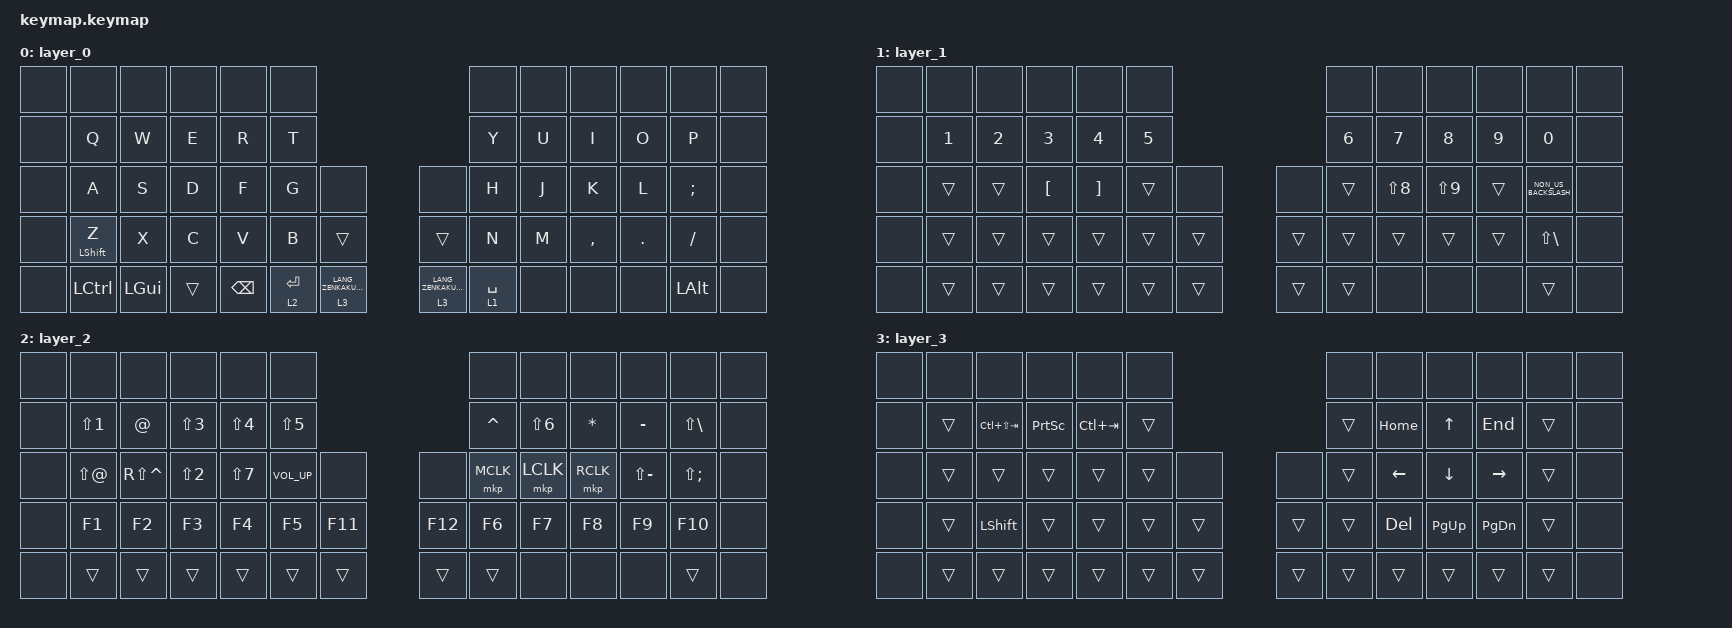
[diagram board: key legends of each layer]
#include <behaviors.dtsi>
#include <dt-bindings/zmk/bt.h>
#include <dt-bindings/zmk/keys.h>
#include <dt-bindings/zmk/pointing.h>

/ {
    combos {
        compatible = "zmk,combos";

        bt_clear {
            bindings = <&bt BT_CLR>;
            key-positions = <28 29>;
            layers = <2>;
        };
    };

    keymap {
        compatible = "zmk,keymap";

        layer_0 {
            bindings = <
&none  &none             &none     &none   &none     &none                                                              &none        &none  &none      &none    &none         &none
&none  &kp Q             &kp W     &kp E   &kp R     &kp T                                                              &kp Y        &kp U  &kp I      &kp O    &kp P         &none
&none  &kp A             &kp S     &kp D   &kp F     &kp G        &none                      &none                      &kp H        &kp J  &kp K      &kp L    &kp SEMI      &none
&none  &mt LEFT_SHIFT Z  &kp X     &kp C   &kp V     &kp B        &trans                     &trans                     &kp N        &kp M  &kp COMMA  &kp DOT  &kp FSLH      &none
&none  &kp LCTRL         &kp LGUI  &trans  &kp BSPC  &lt 2 ENTER  &lt 3 LANG_ZENKAKUHANKAKU  &lt 3 LANG_ZENKAKUHANKAKU  &lt 1 SPACE  &none  &none      &none    &kp LEFT_ALT  &none
            >;
        };

        layer_1 {
            bindings = <
&none  &none   &none   &none             &none              &none                   &none   &none       &none       &none   &none                 &none
&none  &kp N1  &kp N2  &kp N3            &kp N4             &kp N5                  &kp N6  &kp N7      &kp N8      &kp N9  &kp N0                &none
&none  &trans  &trans  &kp LEFT_BRACKET  &kp RIGHT_BRACKET  &trans  &none   &none   &trans  &kp LS(N8)  &kp LS(N9)  &trans  &kp NON_US_BACKSLASH  &none
&none  &trans  &trans  &trans            &trans             &trans  &trans  &trans  &trans  &trans      &trans      &trans  &kp LS(BACKSLASH)     &none
&none  &trans  &trans  &trans            &trans             &trans  &trans  &trans  &trans  &none       &none       &none   &trans                &none
            >;
        };

        layer_2 {
            bindings = <
&none  &none            &none          &none       &none       &none                              &none      &none       &none         &none          &none              &none
&none  &kp LS(N1)       &kp AT_SIGN    &kp LS(N3)  &kp LS(N4)  &kp LS(N5)                         &kp CARET  &kp LS(N6)  &kp ASTERISK  &kp MINUS      &kp LS(BACKSLASH)  &none
&none  &kp LS(AT_SIGN)  &kp RS(CARET)  &kp LS(N2)  &kp LS(N7)  &kp C_VOLUME_UP  &none    &none    &mkp MCLK  &mkp LCLK   &mkp RCLK     &kp LS(MINUS)  &kp LS(SEMI)       &none
&none  &kp F1           &kp F2         &kp F3      &kp F4      &kp F5           &kp F11  &kp F12  &kp F6     &kp F7      &kp F8        &kp F9         &kp F10            &none
&none  &trans           &trans         &trans      &trans      &trans           &trans   &trans   &trans     &none       &none         &none          &trans             &none
            >;
        };

        layer_3 {
            bindings = <
&none  &none   &none            &none      &none        &none                   &none   &none       &none        &none          &none   &none
&none  &trans  &kp LC(LS(TAB))  &kp PSCRN  &kp LC(TAB)  &trans                  &trans  &kp HOME    &kp UP       &kp END        &trans  &none
&none  &trans  &trans           &trans     &trans       &trans  &none   &none   &trans  &kp LEFT    &kp DOWN     &kp RIGHT      &trans  &none
&none  &trans  &kp LEFT_SHIFT   &trans     &trans       &trans  &trans  &trans  &trans  &kp DELETE  &kp PAGE_UP  &kp PAGE_DOWN  &trans  &none
&none  &trans  &trans           &trans     &trans       &trans  &trans  &trans  &trans  &trans      &trans       &trans         &trans  &none
            >;
        };
    };
};
